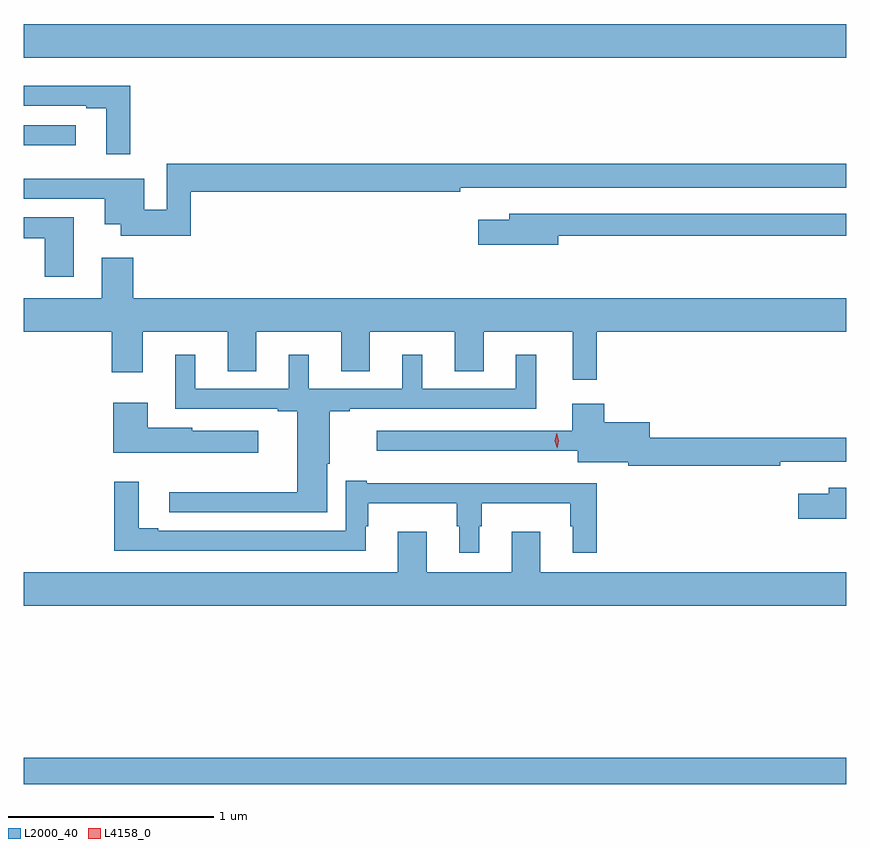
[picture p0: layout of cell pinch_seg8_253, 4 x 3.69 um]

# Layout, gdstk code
import gdstk
lib = gdstk.Library(unit=1e-6, precision=1e-09)
def R(c, l, rs):  # rectangles x0, y0, x1, y1
    for r in rs: c.add(gdstk.rectangle(r[:2], r[2:], *l))
def P(c, l, *ps):  # polygons
    for p in ps: c.add(gdstk.Polygon(p, *l))
L2000_40 = (2000, 40)
L4158_0 = (4158, 0)

pinch_seg8_253 = lib.new_cell('pinch_seg8_253')
R(pinch_seg8_253, L2000_40, [(794.937,1118.298,798.937,1118.426), (794.937,1121.828,798.937,1121.992)])
P(pinch_seg8_253, L2000_40, [(795.455,1121.692),(794.937,1121.692),(794.937,1121.595),(795.242,1121.595),(795.242,1121.583),(795.338,1121.583),(795.338,1121.358),(795.455,1121.358)],
  [(795.19,1121.499),(794.937,1121.499),(794.937,1121.403),(794.968,1121.403),(794.968,1121.402),(795.19,1121.402)],
  [(795.749,1121.176),(797.06,1121.176),(797.06,1121.196),(798.937,1121.196),(798.937,1121.312),(795.633,1121.312),(795.633,1121.09),(795.523,1121.09),(795.523,1121.239),(794.937,1121.239),(794.937,1121.142),(795.332,1121.142),(795.332,1121.018),(795.41,1121.018),(795.41,1120.962),(795.749,1120.962)],
  [(797.536,1120.962),(798.937,1120.962),(798.937,1121.07),(797.297,1121.07),(797.297,1121.041),(797.148,1121.041),(797.148,1120.919),(797.536,1120.919)],
  [(795.181,1121.052),(794.937,1121.052),(794.937,1120.951),(795.041,1120.951),(795.041,1120.764),(795.181,1120.764)],
  [(797.723,1120.496),(798.937,1120.496),(798.937,1120.66),(795.47,1120.66),(795.47,1120.855),(795.317,1120.855),(795.317,1120.66),(794.937,1120.66),(794.937,1120.496),(795.365,1120.496),(795.365,1120.299),(795.517,1120.299),(795.517,1120.496),(795.929,1120.496),(795.929,1120.303),(796.069,1120.303),(796.069,1120.496),(796.481,1120.496),(796.481,1120.303),(796.621,1120.303),(796.621,1120.496),(797.033,1120.496),(797.033,1120.303),(797.173,1120.303),(797.173,1120.496),(797.606,1120.496),(797.606,1120.263),(797.723,1120.263)],
  [(796.414,1119.855),(796.426,1119.855),(796.426,1120.11),(796.522,1120.11),(796.522,1120.122),(797.429,1120.122),(797.429,1120.384),(797.33,1120.384),(797.33,1120.218),(796.876,1120.218),(796.876,1120.384),(796.778,1120.384),(796.778,1120.218),(796.324,1120.218),(796.324,1120.384),(796.226,1120.384),(796.226,1120.218),(795.772,1120.218),(795.772,1120.384),(795.674,1120.384),(795.674,1120.122),(796.172,1120.122),(796.172,1120.11),(796.268,1120.11),(796.268,1119.716),(795.645,1119.716),(795.645,1119.618),(796.414,1119.618)],
  [(796.078,1120.015),(795.756,1120.015),(795.756,1120.03),(795.541,1120.03),(795.541,1120.15),(795.374,1120.15),(795.374,1119.908),(796.078,1119.908)],
  [(798.614,1119.864),(798.937,1119.864),(798.937,1119.98),(797.98,1119.98),(797.98,1120.057),(797.759,1120.057),(797.759,1120.147),(797.603,1120.147),(797.603,1120.014),(796.653,1120.014),(796.653,1119.917),(797.63,1119.917),(797.63,1119.863),(797.876,1119.863),(797.876,1119.844),(798.614,1119.844)],
  [(797.152,1119.551),(797.164,1119.551),(797.164,1119.662),(797.595,1119.662),(797.595,1119.551),(797.606,1119.551),(797.606,1119.423),(797.723,1119.423),(797.723,1119.76),(796.606,1119.76),(796.606,1119.772),(796.503,1119.772),(796.503,1119.528),(795.592,1119.528),(795.592,1119.541),(795.496,1119.541),(795.496,1119.766),(795.379,1119.766),(795.379,1119.432),(796.6,1119.432),(796.6,1119.551),(796.612,1119.551),(796.612,1119.662),(797.043,1119.662),(797.043,1119.551),(797.054,1119.551),(797.054,1119.423),(797.152,1119.423)],
  [(798.937,1119.738),(798.851,1119.738),(798.851,1119.709),(798.702,1119.709),(798.702,1119.587),(798.937,1119.587)],
  [(798.937,1119.328),(797.449,1119.328),(797.449,1119.523),(797.309,1119.523),(797.309,1119.328),(796.897,1119.328),(796.897,1119.523),(796.757,1119.523),(796.757,1119.328),(794.937,1119.328),(794.937,1119.164),(798.937,1119.164)])
P(pinch_seg8_253, L4158_0, [(797.53,1119.931),(797.519,1119.966),(797.528,1120.002),(797.528,1120.002),(797.528,1120.002),(797.539,1119.967),(797.531,1119.931),(797.531,1119.931)])

lib.write_gds('pinch_seg8_253.gds')
